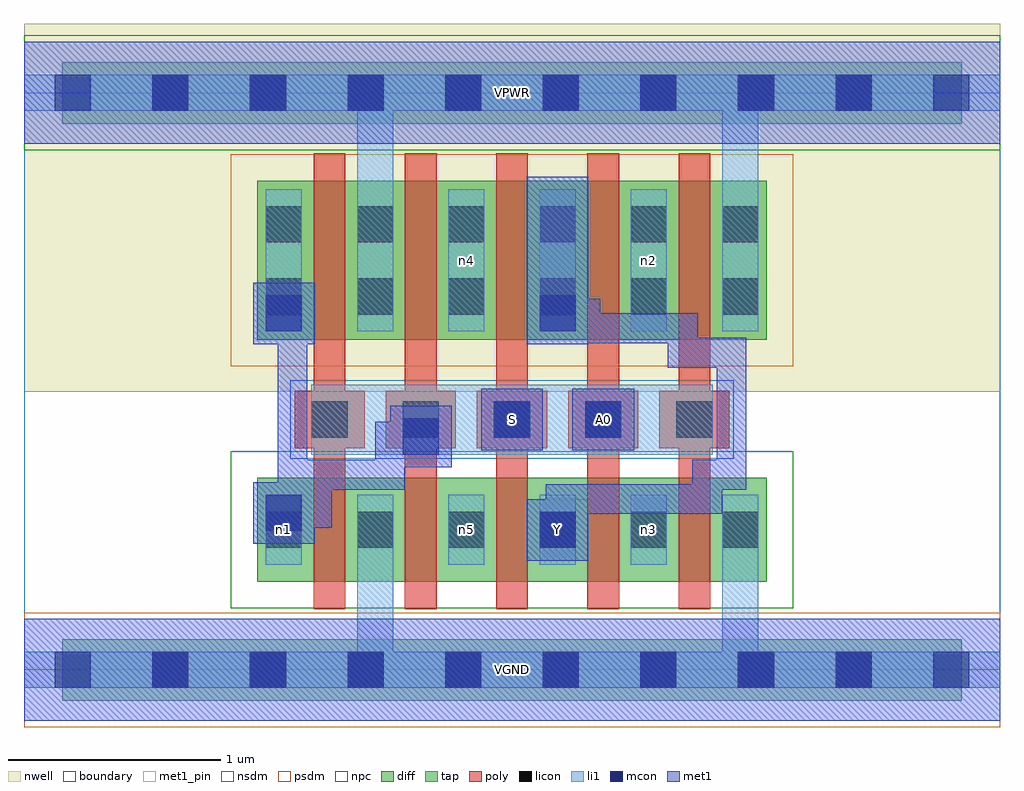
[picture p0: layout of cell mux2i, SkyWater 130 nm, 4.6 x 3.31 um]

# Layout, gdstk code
import gdstk
lib = gdstk.Library(unit=1e-6, precision=1e-09)
def R(c, l, rs):  # rectangles x0, y0, x1, y1
    for r in rs: c.add(gdstk.rectangle(r[:2], r[2:], *l))
def A(c, l, x, y, w, h, nx, ny, dx, dy):  # array of equal rectangles
    R(c, l, [(x+i*dx, y+j*dy, x+i*dx+w, y+j*dy+h) for i in range(nx) for j in range(ny)])
nwell = (64, 20)
diff = (65, 20)
tap = (65, 44)
poly = (66, 20)
licon = (66, 44)
li1 = (67, 20)
mcon = (67, 44)
met1_pin = (68, 16)
met1 = (68, 20)
nsdm = (93, 44)
psdm = (94, 20)
npc = (95, 20)
boundary = (235, 4)

mux2i = lib.new_cell('mux2i')
R(mux2i, nwell, [(0,1.31,4.6,3.045)])
R(mux2i, diff, [(1.1,0.415,3.5,0.905), (1.1,1.555,3.5,2.305)])
R(mux2i, tap, [(0.18,-0.145,4.42,0.145), (0.18,2.575,4.42,2.865)])
A(mux2i, poly, 1.365, 0.285, 0.15, 2.15, 5, 1, 0.43, 0)
A(mux2i, poly, 1.275, 1.045, 0.33, 0.27, 5, 1, 0.43, 0)
A(mux2i, licon, 0.605, -0.085, 0.17, 0.17, 8, 2, 0.46, 2.72)
A(mux2i, licon, 1.14, 0.575, 0.17, 0.17, 6, 2, 0.43, 1.1)
A(mux2i, licon, 1.355, 1.095, 0.17, 0.17, 5, 1, 0.43, 0)
A(mux2i, licon, 1.14, 2.015, 0.17, 0.17, 6, 1, 0.43, 0)
A(mux2i, li1, 1.14, 0.495, 0.17, 0.33, 6, 1, 0.43, 0)
A(mux2i, li1, 1.785, 1.015, 0.17, 0.33, 3, 1, 0.43, 0)
A(mux2i, li1, 1.14, 1.595, 0.17, 0.67, 6, 1, 0.43, 0)
R(mux2i, li1, [(0,-0.085,4.6,0.085), (1.57,-0.085,1.74,0.825), (3.29,-0.085,3.46,0.825), (1.355,1.015,3.245,1.345), (1.57,1.595,1.74,2.805), (3.29,1.595,3.46,2.805), (0,2.635,4.6,2.805)])
A(mux2i, mcon, 0.145, -0.085, 0.17, 0.17, 10, 2, 0.46, 2.72)
R(mux2i, mcon, [(2.43,0.575,2.6,0.745), (1.14,0.655,1.31,0.825), (1.785,1.015,1.955,1.185), (2.215,1.095,2.385,1.265), (2.215,1.095,2.385,1.265), (2.645,1.095,2.815,1.265), (1.14,1.595,1.31,1.765), (2.43,1.595,2.6,1.765)])
R(mux2i, met1_pin, [(0,-0.24,4.6,0.24), (2.37,0.515,2.66,0.805), (2.155,1.035,2.445,1.325), (2.155,1.035,2.445,1.325), (2.585,1.035,2.875,1.325), (0,2.48,4.6,2.96)])
R(mux2i, met1, [(0,-0.24,4.6,0.24), (2.37,0.515,2.66,0.805), (1.08,0.595,1.37,0.885), (2.46,0.62,2.6,0.76), (2.46,0.62,2.6,0.875), (1.155,0.67,1.45,0.81), (1.31,0.67,1.45,0.99), (2.46,0.735,3.29,0.875), (3.15,0.735,3.29,0.99), (1.195,0.81,1.45,0.85), (1.195,0.85,1.45,0.99), (1.195,0.85,1.335,1.565), (1.31,0.85,1.795,0.99), (1.655,0.85,1.795,1.17), (3.15,0.85,3.405,0.99), (3.265,0.85,3.405,1.565), (1.725,0.955,2.015,1.245), (1.655,1.03,1.94,1.17), (2.155,1.035,2.445,1.325), (2.155,1.035,2.445,1.325), (2.585,1.035,2.875,1.325), (1.195,1.425,1.335,1.75), (3.035,1.425,3.175,1.68), (3.035,1.425,3.405,1.565), (1.08,1.535,1.37,1.825), (2.37,1.535,2.66,1.825), (2.37,1.535,2.66,2.325), (2.46,1.54,2.715,1.68), (2.46,1.54,2.6,1.68), (2.575,1.54,2.715,1.75), (2.575,1.54,3.175,1.68), (1.155,1.61,1.335,1.75), (2.445,1.61,2.715,1.75), (0,2.48,4.6,2.96)])
R(mux2i, nsdm, [(0.975,0.29,3.625,1.03), (0,2.45,4.6,2.99)])
R(mux2i, psdm, [(0,-0.27,4.6,0.27), (0.975,1.43,3.625,2.43)])
R(mux2i, npc, [(1.255,0.995,3.345,1.365)])
R(mux2i, boundary, [(0,0,4.6,2.72)])
mux2i.add(gdstk.Label('n1', (1.225,0.66), layer=67, texttype=5))
mux2i.add(gdstk.Label('n5', (2.085,0.66), layer=67, texttype=5))
mux2i.add(gdstk.Label('n3', (2.945,0.66), layer=67, texttype=5))
mux2i.add(gdstk.Label('n4', (2.085,1.93), layer=67, texttype=5))
mux2i.add(gdstk.Label('n2', (2.945,1.93), layer=67, texttype=5))
mux2i.add(gdstk.Label('S', (2.3,1.18), layer=68, texttype=5))
mux2i.add(gdstk.Label('A0', (2.73,1.18), layer=68, texttype=5))
mux2i.add(gdstk.Label('A1', (2.3,1.18), layer=68, texttype=5))
mux2i.add(gdstk.Label('Y', (2.515,0.66), layer=68, texttype=5))
mux2i.add(gdstk.Label('VPWR', (2.3,2.72), layer=68, texttype=5))
mux2i.add(gdstk.Label('VGND', (2.3,0), layer=68, texttype=5))
mux2i.add(gdstk.Label('S', (2.3,1.18), layer=68, texttype=16))
mux2i.add(gdstk.Label('A0', (2.73,1.18), layer=68, texttype=16))
mux2i.add(gdstk.Label('A1', (2.3,1.18), layer=68, texttype=16))
mux2i.add(gdstk.Label('Y', (2.515,0.66), layer=68, texttype=16))
mux2i.add(gdstk.Label('VPWR', (2.3,2.72), layer=68, texttype=16))
mux2i.add(gdstk.Label('VGND', (2.3,0), layer=68, texttype=16))

lib.write_gds('mux2i.gds')
